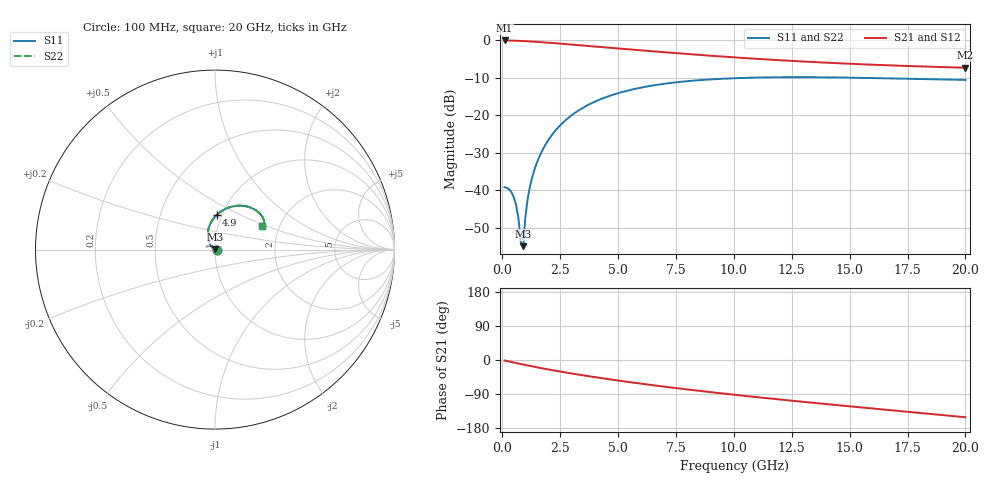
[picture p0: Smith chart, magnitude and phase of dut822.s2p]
! Touchstone file exported from HFSS 2024.1.0
!  File:  C:/UserFiles/LocalFiles/RDL_TSV_Batchsim/temp_RDL_TSV_822_1779915908.aedt
!  Generated:  05:20:20 AM May 28, 2026
!  Design:  RDL_TSV
!  Project:  temp_RDL_TSV_822_1779915908
!  Setup:  Setup1
!  Solution:  Sweep
! Variables:
!  dtsv = 7.84um
!  hbump = 3um
!  htsv = 85.96um
!  ldown = 294.82um
!  lrdl = 248.86um
!  p = 40
!  p1 = 49.3um
!  rhole = 10um
!  subl = 1879.9um
!  t = 450um
!  tdown = 4.48um
!  trdl = 2.77um
!  viad = 10um
!  wdown = 23.37um
!  wrdl = 18.91um
!  xbump = 18um
# GHz S MA R 50.000000
! Terminal data exported
! Port[1] = TM1_1_T1
! Port[2] = TM1_4_T1
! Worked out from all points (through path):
!   200 points, 100 MHz to 20 GHz, reference 50 ohm
!   highest |S21| = -0.10 dB at 100 MHz (marker M1); lowest = -7.4 dB at 20 GHz (marker M2)
!   group delay of S21, straight-line fit = 19.8 ps
!   lowest |S11| = -54.8 dB at 900 MHz (marker M3), VSWR 1.00, Z = 49.9 + j0.168 ohm
!   |S11| at or under -10 dB: start of sweep to 10.77 GHz; 15.13 GHz to end of sweep
!   |S22| runs from -54.8 to -9.9 dB; largest |S21 - S12| = 1e-14
!   S11 on the Smith chart (normalised r, x): 100 MHz: 1.02, +0.00; 4.9 GHz: 0.94, +0.38; 20 GHz: 1.63, +0.48
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0.1  0.01105 0.5  0.9885 -1.4  0.9885 -1.4  0.01105 0.5
! Gamma 0 0 0 0
! Port Impedance 50 0 50 0
0.3  0.01033 -0.7  0.9861 -4.1  0.9861 -4.1  0.01033 -0.7
0.5  0.008044 -3.0  0.9823 -6.7  0.9823 -6.7  0.008044 -3.0
0.6  0.006302 -2.9  0.9799 -8.0  0.9799 -8.0  0.006302 -2.9
0.7  0.004227 0.6  0.9773 -9.3  0.9773 -9.3  0.004227 0.6
0.8  0.002008 20.5  0.9744 -10.6  0.9744 -10.6  0.002007 20.4
0.9  0.001818 112.4  0.9711 -11.9  0.9711 -11.9  0.001817 112.4
1  0.004571 138.9  0.9677 -13.2  0.9677 -13.2  0.004571 138.9
1.1  0.007876 143.5  0.9639 -14.4  0.9639 -14.4  0.007876 143.5
1.2  0.01148 144.1  0.96 -15.7  0.96 -15.7  0.01148 144.1
1.3  0.01534 143.4  0.9558 -16.9  0.9558 -16.9  0.01534 143.4
1.6  0.02817 138.8  0.9424 -20.5  0.9424 -20.5  0.02817 138.9
2  0.04745 131.4  0.9228 -25.1  0.9228 -25.1  0.04746 131.4
2.4  0.06823 124.0  0.9023 -29.4  0.9023 -29.4  0.06825 124.0
2.9  0.09501 115.3  0.8763 -34.6  0.8763 -34.6  0.09504 115.3
3.5  0.1267 105.8  0.8456 -40.6  0.8456 -40.6  0.1268 105.8
4.9  0.1926 87.3  0.7782 -53.3  0.7782 -53.3  0.1927 87.4
6.8  0.2573 68.5  0.6973 -68.8  0.6973 -68.8  0.2575 68.5
10.1  0.3117 46.9  0.5866 -92.3  0.5866 -92.3  0.3118 47.0
13.4  0.3208 34.3  0.511 -112.8  0.511 -112.8  0.321 34.3
16.7  0.3095 27.9  0.4615 -132.1  0.4615 -132.1  0.3097 28.0
20  0.2953 26.9  0.4289 -151.0  0.4289 -151.0  0.2955 27.0
